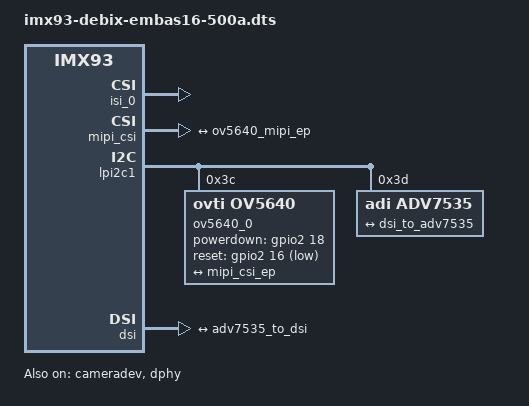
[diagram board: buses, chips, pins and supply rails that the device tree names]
// SPDX-License-Identifier: (GPL-2.0+ OR MIT)
/*
 * Copyright 2022 NXP
 */

#include "imx93-11x11-evk.dts"

/ {
};

&cameradev {
	status = "okay";
};

&isi_0 {
	status = "okay";

	cap_device {
		status = "okay";
	};
};

&mipi_csi {
	#address-cells = <1>;
	#size-cells = <0>;
	status = "okay";

	port@0 {
		reg = <0>;
		mipi_csi_ep: endpoint {
			remote-endpoint = <&ov5640_mipi_ep>;
			data-lanes = <2>;
			cfg-clk-range = <28>; /*24MHz = 28*/
			hs-clk-range = <0x16>;  
			bus-type = <5>;
			
		};
	};
};

&lpi2c1 {
	ov5640_0: ov5640_mipi@3c {
                compatible = "ovti,ov5640";
                reg = <0x3c>;
                pinctrl-names = "default";
                pinctrl-0 = <&pinctrl_csi0_pwn>, <&pinctrl_csi0_rst>/*, <&pinctrl_csi0_mclk>*/;
	//	clocks = <&clk IMX93_CLK_CCM_CKO3>;
	//	clock-names = "xclk";
	//	assigned-clocks = <&clk IMX93_CLK_CCM_CKO3>;
         //       assigned-clock-parents = <&clk IMX93_CLK_24M>;
          //      assigned-clock-rates = <24000000>;
		csi_id = <0>;
                powerdown-gpios = <&gpio2 18 GPIO_ACTIVE_HIGH>;
		reset-gpios = <&gpio2 16 GPIO_ACTIVE_LOW>;
		//mclk = <24000000>;
		//mclk_source = <0>;
		mipi_csi;
		status = "okay";
		port {
                        ov5640_mipi_ep: endpoint {
                                remote-endpoint = <&mipi_csi_ep>;
                                data-lanes = <2>;
                                clock-lanes = <0>;
                        };
                };
        };
	adv7535: hdmi@3d {
		compatible = "adi,adv7535";
		reg = <0x3d>;
		adi,addr-cec = <0x3b>;
		adi,dsi-lanes = <4>;
		status = "okay";

		port {
			adv7535_to_dsi: endpoint {
				remote-endpoint = <&dsi_to_adv7535>;
			};
		};
	};


};

&dphy {
	status = "okay";
};

&dsi {
	status = "okay";
	ports {
		port@1 {
			reg = <1>;

			dsi_to_adv7535: endpoint {
				remote-endpoint = <&adv7535_to_dsi>;
			};
		};
	};
};


&iomuxc {
        pinctrl_csi0_pwn: csi0_pwn_grp {
                fsl,pins = <
                         MX93_PAD_GPIO_IO18__GPIO2_IO18		0x31e
                >;
        };
	pinctrl_csi0_rst: csi0_rst_grp {
                fsl,pins = <
                         MX93_PAD_GPIO_IO16__GPIO2_IO16		0x31e
                >;
        };
	pinctrl_csi0_mclk: csi0_mclk_grp {
                fsl,pins = <
			 //MX93_PAD_CCM_CLKO3__CCMSRCGPCMIX_CLKO3  0x31e
			 MX93_PAD_CCM_CLKO3__CCMSRCGPCMIX_CLKO3  0x1fe
                >;
        };
};
